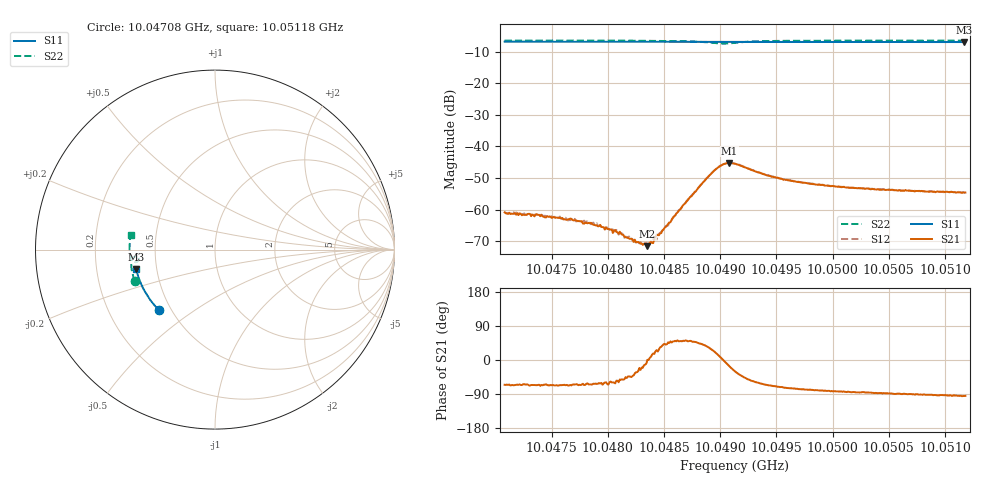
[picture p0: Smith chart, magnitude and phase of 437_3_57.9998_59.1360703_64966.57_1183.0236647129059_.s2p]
#  HZ  S  RI  R  50.00
! Rohde & Schwarz Vector Network Analyzer
! Rohde-Schwarz,ZNB20-2Port,1311601062101988,3.16
! Created: UTC 3/21/2024, 1:09:54 AM
! freq[Hz]  re:S11  im:S11  re:S21  im:S21  re:S12  im:S12  re:S22  im:S22
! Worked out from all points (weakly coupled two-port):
!   401 points, 10.04708 GHz to 10.05118 GHz, reference 50 ohm
!   highest |S21| = -45.26 dB at 10.04908 GHz (marker M1); lowest = -71.6 dB at 10.04835 GHz (marker M2)
!   lowest |S11| = -6.9 dB at 10.05117 GHz (marker M3), VSWR 2.65, Z = 19.1 - j5.19 ohm
!   |S11| at or under -10 dB: nowhere
!   |S22| runs from -7.4 to -6.4 dB; largest |S21 - S12| = 0.00039
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1.0047082e10  -0.3099 -0.3388  0.000375 -0.000819  0.000454 -0.000801  -0.4465 -0.1751
1.0047389e10  -0.3242 -0.3244  0.000344 -0.000749  0.000372 -0.000711  -0.4531 -0.1552
1.0047441e10  -0.3265 -0.3219  0.000315 -0.000682  0.000377 -0.000704  -0.4543 -0.1519
1.0047687e10  -0.3372 -0.3098  0.000293 -0.000618  0.000326 -0.000595  -0.4588 -0.1355
1.0047769e10  -0.3409 -0.3057  0.000278 -0.00059  0.0003 -0.000567  -0.4602 -0.1301
1.0047851e10  -0.3442 -0.3016  0.000265 -0.000555  0.000272 -0.000517  -0.4616 -0.124
1.0048056e10  -0.3528 -0.291  0.000235 -0.000404  0.000266 -0.000362  -0.4645 -0.1097
1.0048302e10  -0.3624 -0.2779  0.000273 -9.99e-05  0.000265 -7.08e-05  -0.4667 -0.0911
1.0048353e10  -0.3645 -0.2752  0.000262 2.55e-06  0.000276 4.73e-06  -0.4671 -0.0871
1.0048384e10  -0.3656 -0.2736  0.000302 4.47e-05  0.000311 7.28e-05  -0.4673 -0.0845
1.0048414e10  -0.3666 -0.272  0.000341 9.91e-05  0.000294 0.000148  -0.4671 -0.082
1.0048455e10  -0.3683 -0.2696  0.000346 0.000186  0.000332 0.000248  -0.4672 -0.0784
1.0048722e10  -0.378 -0.255  0.000961 0.00115  0.0009 0.0012  -0.4623 -0.0531
1.0048917e10  -0.3843 -0.2441  0.00319 0.00176  0.00311 0.00201  -0.441 -0.0374
1.0048999e10  -0.387 -0.2395  0.00484 0.000715  0.00482 0.00106  -0.4271 -0.0444
1.0049081e10  -0.3896 -0.235  0.00524 -0.00151  0.00537 -0.00119  -0.4267 -0.0614
1.0049132e10  -0.3912 -0.2322  0.00459 -0.00267  0.0048 -0.00234  -0.4348 -0.0681
1.0049439e10  -0.4011 -0.2146  0.00133 -0.00315  0.0015 -0.00309  -0.4682 -0.0485
1.0049818e10  -0.4117 -0.1919  0.000493 -0.00249  0.000636 -0.00252  -0.4751 -0.0161
1.0050505e10  -0.4277 -0.1498  5.58e-05 -0.00206  0.000174 -0.00208  -0.4752 0.0337
1.0051171e10  -0.439 -0.108  -0.000162 -0.00185  -5.86e-05 -0.00186  -0.4697 0.0784
1.0051182e10  -0.4393 -0.1072  -0.00015 -0.00185  -3.65e-05 -0.00186  -0.4695 0.0791
